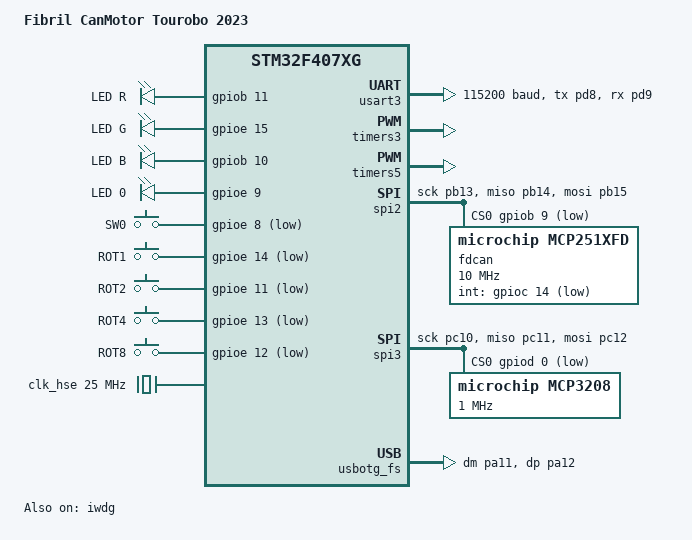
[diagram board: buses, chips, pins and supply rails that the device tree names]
/*
 * SPDX-License-Identifier: Apache-2.0
 *
 * Board configuration for the Fibril CanMotor Tourobo 2023. Pin assignments and
 * clock config are taken from CanMotorMbed/src/targets/canmotor_tourobo2023 so
 * that hardware built for that firmware works unmodified.
 */

/dts-v1/;
#include <st/f4/stm32f407Xg.dtsi>
#include <st/f4/stm32f407v(e-g)tx-pinctrl.dtsi>
#include <zephyr/dt-bindings/input/input-event-codes.h>

/ {
	model = "Fibril CanMotor Tourobo 2023";
	compatible = "fibril,canmotor-tourobo2023";

	chosen {
		zephyr,console = &usart3;
		zephyr,shell-uart = &usart3;
		zephyr,sram = &sram0;
		zephyr,flash = &flash0;
		zephyr,dtcm = &ccm0;
	};

	leds: leds {
		compatible = "gpio-leds";

		led_r: led_r {
			gpios = <&gpiob 11 GPIO_ACTIVE_HIGH>;
			label = "LED R";
		};

		led_g: led_g {
			gpios = <&gpioe 15 GPIO_ACTIVE_HIGH>;
			label = "LED G";
		};

		led_b: led_b {
			gpios = <&gpiob 10 GPIO_ACTIVE_HIGH>;
			label = "LED B";
		};

		user_led: user_led {
			gpios = <&gpioe 9 GPIO_ACTIVE_HIGH>;
			label = "LED 0";
		};
	};

	gpio_keys {
		compatible = "gpio-keys";

		user_button: sw0 {
			label = "SW0";
			gpios = <&gpioe 8 (GPIO_PULL_UP | GPIO_ACTIVE_LOW)>;
			zephyr,code = <INPUT_KEY_0>;
		};
	};

	/* Four-position BCD rotary DIP switch (ROT1|ROT2|ROT4|ROT8, active low).
	 * Read as a nibble to derive per-unit CAN IDs / hostnames, matching the
	 * mbed target's Hardware() constructor. Not a gpio-keys input source.
	 */
	rotary_id: rotary_id {
		compatible = "gpio-keys";
		status = "okay";

		rot1: rot1 {
			label = "ROT1";
			gpios = <&gpioe 14 (GPIO_PULL_UP | GPIO_ACTIVE_LOW)>;
			zephyr,code = <INPUT_KEY_1>;
		};

		rot2: rot2 {
			label = "ROT2";
			gpios = <&gpioe 11 (GPIO_PULL_UP | GPIO_ACTIVE_LOW)>;
			zephyr,code = <INPUT_KEY_2>;
		};

		rot4: rot4 {
			label = "ROT4";
			gpios = <&gpioe 13 (GPIO_PULL_UP | GPIO_ACTIVE_LOW)>;
			zephyr,code = <INPUT_KEY_3>;
		};

		rot8: rot8 {
			label = "ROT8";
			gpios = <&gpioe 12 (GPIO_PULL_UP | GPIO_ACTIVE_LOW)>;
			zephyr,code = <INPUT_KEY_4>;
		};
	};

	aliases {
		led0 = &led_g;
		sw0 = &user_button;
		watchdog0 = &iwdg;
	};
};

/* HSE 25 MHz crystal -> PLL -> 168 MHz SYSCLK. PLL_Q at 48 MHz feeds USB OTG
 * FS. Matches the clock tree in CanMotorMbed/src/targets/canmotor_tourobo2023/
 * system_clock.c.
 */
&clk_hse {
	clock-frequency = <DT_FREQ_M(25)>;
	status = "okay";
};

&pll {
	div-m = <25>;
	mul-n = <336>;
	div-p = <2>;
	div-q = <7>;
	clocks = <&clk_hse>;
	status = "okay";
};

&rcc {
	clocks = <&pll>;
	clock-frequency = <DT_FREQ_M(168)>;
	ahb-prescaler = <1>;
	apb1-prescaler = <4>;
	apb2-prescaler = <2>;
};

/* Debug UART broken out on PD8/PD9 as DEBUG_TX / DEBUG_RX. */
&usart3 {
	pinctrl-0 = <&usart3_tx_pd8 &usart3_rx_pd9>;
	pinctrl-names = "default";
	current-speed = <115200>;
	status = "okay";
};

/* TIM3 drives the M0 (PA6/PA7) and M1 (PB0/PB1) H-bridge inputs. */
&timers3 {
	status = "okay";

	pwm3: pwm {
		status = "okay";
		pinctrl-0 = <&tim3_ch1_pa6 &tim3_ch2_pa7
			     &tim3_ch3_pb0 &tim3_ch4_pb1>;
		pinctrl-names = "default";
	};
};

/* TIM5 drives the M2 (PA0/PA1) and M3 (PA2/PA3) H-bridge inputs. */
&timers5 {
	status = "okay";

	pwm5: pwm {
		status = "okay";
		pinctrl-0 = <&tim5_ch1_pa0 &tim5_ch2_pa1
			     &tim5_ch3_pa2 &tim5_ch4_pa3>;
		pinctrl-names = "default";
	};
};

/* SPI2 talks to the on-board MCP2517FD CAN FD controller.
 * SCK=PB13, MISO=PB14, MOSI=PB15; CS=PB9; IRQ=PC14.
 * Board mounts a 20 MHz crystal on the MCP2517FD, so SYSCLK = 20 MHz with
 * pll-enable left off (PLL is ×10 and would push SYSCLK past the 40 MHz spec).
 * At SYSCLK 20 MHz the data phase needs ≥8 tq/bit → ≤2.5 Mbps; overlays that
 * want 5 Mbps data must swap the crystal and enable pll-enable / re-derive
 * osc-freq accordingly.
 */
&spi2 {
	pinctrl-0 = <&spi2_sck_pb13 &spi2_miso_pb14 &spi2_mosi_pb15>;
	pinctrl-names = "default";
	cs-gpios = <&gpiob 9 GPIO_ACTIVE_LOW>;
	status = "okay";

	fdcan: mcp2517fd@0 {
		compatible = "microchip,mcp251xfd";
		reg = <0x0>;
		spi-max-frequency = <DT_FREQ_M(10)>;
		int-gpios = <&gpioc 14 GPIO_ACTIVE_LOW>;
		osc-freq = <DT_FREQ_M(20)>;
		bitrate = <1000000>;

		can-transceiver {
			max-bitrate = <5000000>;
		};
	};
};

/* SPI3 talks to the on-board MCP3208 12-bit external ADC.
 * SCK=PC10, MISO=PC11, MOSI=PC12; CS=PD0. fCLK max is 1 MHz at 3.3 V.
 */
&spi3 {
	pinctrl-0 = <&spi3_sck_pc10 &spi3_miso_pc11 &spi3_mosi_pc12>;
	pinctrl-names = "default";
	cs-gpios = <&gpiod 0 GPIO_ACTIVE_LOW>;
	status = "okay";

	mcp3208: mcp3208@0 {
		compatible = "microchip,mcp3208";
		reg = <0x0>;
		spi-max-frequency = <1000000>;
		#io-channel-cells = <1>;
	};
};

zephyr_udc0: &usbotg_fs {
	pinctrl-0 = <&usb_otg_fs_dm_pa11 &usb_otg_fs_dp_pa12>;
	pinctrl-names = "default";
	status = "okay";
};

&iwdg {
	status = "okay";
};

&flash0 {
	partitions {
		compatible = "fixed-partitions";
		#address-cells = <1>;
		#size-cells = <1>;

		boot_partition: partition@0 {
			label = "mcuboot";
			reg = <0x00000000 DT_SIZE_K(64)>;
			read-only;
		};

		slot0_partition: partition@10000 {
			label = "image-0";
			reg = <0x00010000 DT_SIZE_K(448)>;
		};

		slot1_partition: partition@80000 {
			label = "image-1";
			reg = <0x00080000 DT_SIZE_K(448)>;
		};

		storage_partition: partition@f0000 {
			label = "storage";
			reg = <0x000f0000 DT_SIZE_K(64)>;
		};
	};
};
